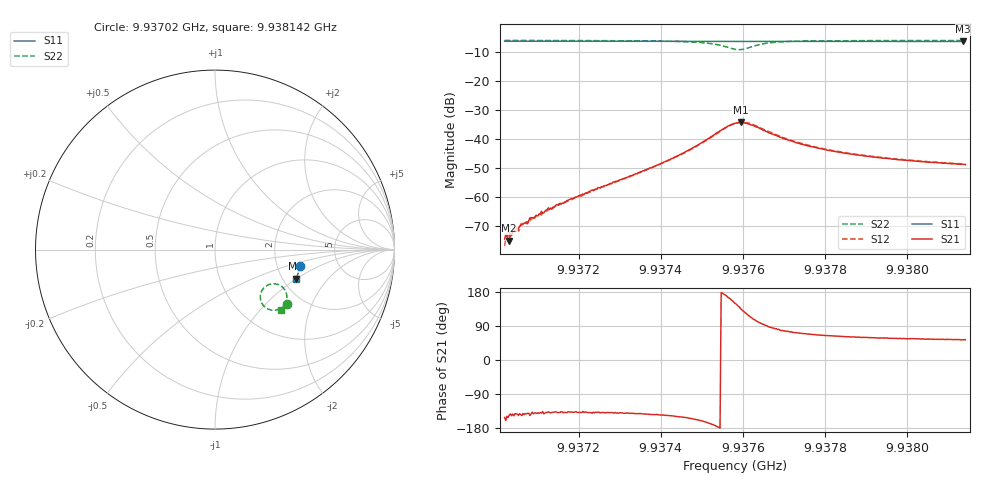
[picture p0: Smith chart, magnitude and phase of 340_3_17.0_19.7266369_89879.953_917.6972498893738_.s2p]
#  HZ  S  RI  R  50.00
! Rohde & Schwarz Vector Network Analyzer
! Rohde-Schwarz,ZNB20-2Port,1311601062101988,3.16
! Created: UTC 3/20/2024, 11:07:17 PM
! freq[Hz]  re:S11  im:S11  re:S21  im:S21  re:S12  im:S12  re:S22  im:S22
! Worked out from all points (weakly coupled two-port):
!   401 points, 9.93702 GHz to 9.938142 GHz, reference 50 ohm
!   highest |S21| = -34.33 dB at 9.937595 GHz (marker M1); lowest = -75.2 dB at 9.937031 GHz (marker M2)
!   lowest |S11| = -6.4 dB at 9.938137 GHz (marker M3), VSWR 2.85, Z = 118 - j49.6 ohm
!   |S11| at or under -10 dB: nowhere
!   |S22| runs from -9.2 to -6.0 dB; largest |S21 - S12| = 0.0012
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9.9370199e9  0.4763 -0.0893  -0.000163 -8.79e-05  -0.000129 -5.55e-05  0.3986 -0.3007
9.9370255e9  0.4763 -0.0898  -0.00019 -0.000116  -0.000188 -0.000105  0.3982 -0.3012
9.9370311e9  0.476 -0.0902  -0.000144 -9.82e-05  -0.000195 -0.000147  0.3978 -0.3016
9.9370648e9  0.4754 -0.0925  -0.000262 -0.00021  -0.000287 -0.000182  0.3955 -0.3038
9.9370844e9  0.475 -0.0938  -0.000342 -0.000268  -0.000345 -0.000262  0.3943 -0.3052
9.9370985e9  0.4749 -0.0949  -0.000369 -0.000297  -0.000367 -0.000304  0.3933 -0.306
9.9371378e9  0.4741 -0.0976  -0.000493 -0.000441  -0.000479 -0.000412  0.3902 -0.3093
9.9372079e9  0.4727 -0.1022  -0.000814 -0.000719  -0.000777 -0.00068  0.3842 -0.3145
9.9373959e9  0.469 -0.1149  -0.00297 -0.00211  -0.00292 -0.00205  0.357 -0.3317
9.9374576e9  0.4674 -0.119  -0.00509 -0.0028  -0.005 -0.00273  0.3368 -0.3373
9.9375222e9  0.4654 -0.1235  -0.0105 -0.00215  -0.0103 -0.00226  0.2932 -0.3299
9.9375586e9  0.464 -0.1253  -0.0155 0.0026  -0.0154 0.00217  0.2576 -0.2909
9.9375811e9  0.4632 -0.1261  -0.016 0.00935  -0.0165 0.0085  0.2563 -0.2403
9.9375951e9  0.4632 -0.1265  -0.0136 0.0136  -0.0143 0.0129  0.2768 -0.2091
9.9376204e9  0.4634 -0.1276  -0.00654 0.0161  -0.00726 0.0166  0.3357 -0.1907
9.9376568e9  0.4634 -0.1301  -0.000171 0.0133  -0.000204 0.014  0.387 -0.2217
9.9377045e9  0.4626 -0.1336  0.00232 0.00952  0.00234 0.0099  0.4004 -0.2603
9.9377691e9  0.4613 -0.1382  0.00281 0.00673  0.00297 0.00682  0.3974 -0.2879
9.9378533e9  0.4592 -0.1439  0.00269 0.00491  0.00282 0.00503  0.3894 -0.3062
9.9379571e9  0.4568 -0.1506  0.00246 0.00382  0.00256 0.00385  0.3808 -0.3194
9.9381366e9  0.4518 -0.162  0.00216 0.0029  0.00225 0.00293  0.3684 -0.3346
9.9381423e9  0.4518 -0.1625  0.00212 0.00286  0.00222 0.00292  0.3679 -0.3352
